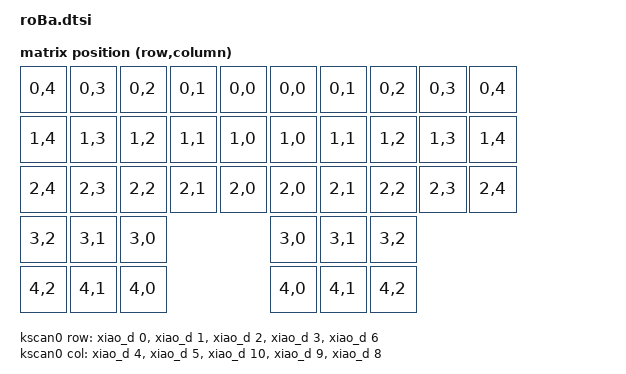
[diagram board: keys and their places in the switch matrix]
#include <dt-bindings/zmk/matrix_transform.h>

/ {
    chosen {
        zmk,kscan = &kscan0;
        zmk,matrix_transform = &default_transform;
    };

    default_transform: keymap_transform_0 {
        compatible = "zmk,matrix-transform";
        columns = <5>;
        rows = <5>;
        // Aを押してGが出るなら、マップ側で最初から逆にしておきます
        map = <
RC(0,4) RC(0,3) RC(0,2) RC(0,1) RC(0,0)    RC(0,0) RC(0,1) RC(0,2) RC(0,3) RC(0,4)
RC(1,4) RC(1,3) RC(1,2) RC(1,1) RC(1,0)    RC(1,0) RC(1,1) RC(1,2) RC(1,3) RC(1,4)
RC(2,4) RC(2,3) RC(2,2) RC(2,1) RC(2,0)    RC(2,0) RC(2,1) RC(2,2) RC(2,3) RC(2,4)
RC(3,2) RC(3,1) RC(3,0)                    RC(3,0) RC(3,1) RC(3,2)
RC(4,2) RC(4,1) RC(4,0)                    RC(4,0) RC(4,1) RC(4,2)
        >;
    };

    kscan0: kscan_0 {
        compatible = "zmk,kscan-gpio-matrix";
        wakeup-source;
        
        // ★これが「入力はされるが逆になる」設定です（一番安定）
        diode-direction = "col2row";

        // ピン配置（連打されない順序）
        col-gpios
            = <&xiao_d 4 GPIO_ACTIVE_HIGH>
            , <&xiao_d 5 GPIO_ACTIVE_HIGH>
            , <&xiao_d 10 GPIO_ACTIVE_HIGH>
            , <&xiao_d 9 GPIO_ACTIVE_HIGH>
            , <&xiao_d 8 GPIO_ACTIVE_HIGH>
            ;

        // 行ピン
        row-gpios
            = <&xiao_d 0 (GPIO_ACTIVE_HIGH | GPIO_PULL_DOWN)>
            , <&xiao_d 1 (GPIO_ACTIVE_HIGH | GPIO_PULL_DOWN)>
            , <&xiao_d 2 (GPIO_ACTIVE_HIGH | GPIO_PULL_DOWN)>
            , <&xiao_d 3 (GPIO_ACTIVE_HIGH | GPIO_PULL_DOWN)>
            , <&xiao_d 6 (GPIO_ACTIVE_HIGH | GPIO_PULL_DOWN)>
            ;
    };
};
